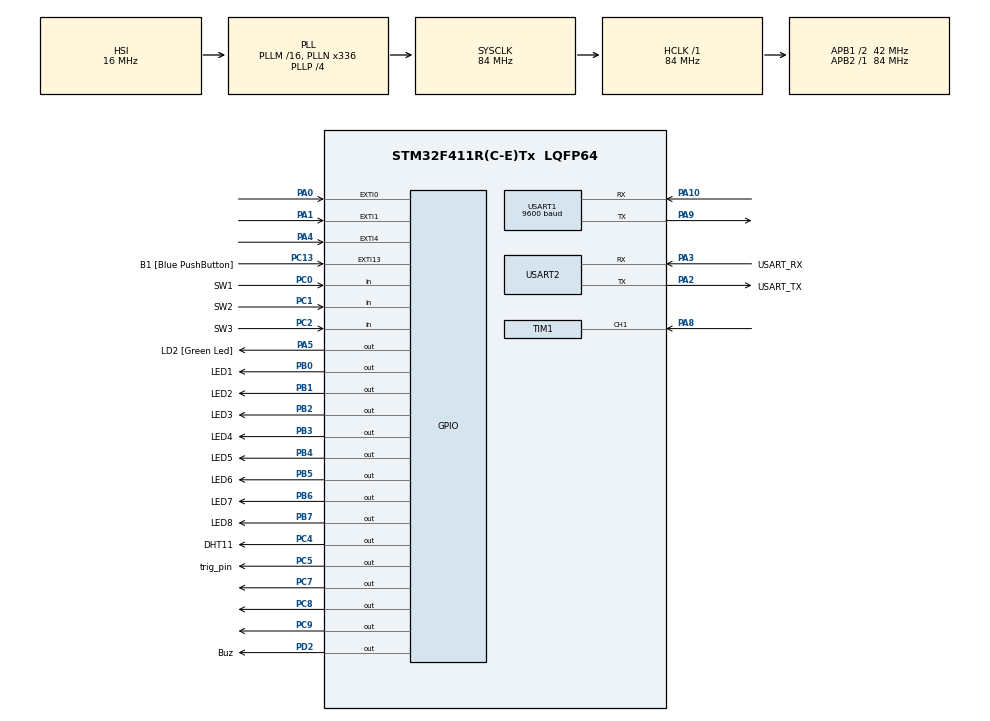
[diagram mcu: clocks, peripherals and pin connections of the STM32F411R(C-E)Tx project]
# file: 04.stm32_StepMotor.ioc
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Mcu.Family=STM32F4
Mcu.Name=STM32F411R(C-E)Tx
Mcu.Package=LQFP64
NVIC.EXTI0_IRQn=true\:0\:0\:false\:false\:true\:true\:true
NVIC.EXTI1_IRQn=true\:0\:0\:false\:false\:true\:true\:true
NVIC.EXTI4_IRQn=true\:0\:0\:false\:false\:true\:true\:true
NVIC.PriorityGroup=NVIC_PRIORITYGROUP_0
NVIC.TIM1_BRK_TIM9_IRQn=true\:0\:0\:false\:true\:true\:1\:true\:true
NVIC.TIM1_CC_IRQn=true\:0\:0\:false\:true\:true\:2\:true\:true
NVIC.TIM1_TRG_COM_TIM11_IRQn=true\:0\:0\:false\:true\:true\:3\:true\:true
NVIC.TIM1_UP_TIM10_IRQn=true\:0\:0\:false\:true\:true\:4\:true\:true
NVIC.USART1_IRQn=true\:0\:0\:false\:false\:true\:true\:true
NVIC.USART2_IRQn=true\:0\:0\:false\:false\:true\:true\:true
PA0-WKUP.Signal=GPXTI0
PA1.Signal=GPXTI1
PA10.Mode=Asynchronous
PA10.Signal=USART1_RX
PA13.GPIO_Label=TMS
PA13.Mode=Serial_Wire
PA13.Signal=SYS_JTMS-SWDIO
PA14.GPIO_Label=TCK
PA14.Mode=Serial_Wire
PA14.Signal=SYS_JTCK-SWCLK
PA2.GPIO_Label=USART_TX
PA2.Mode=Asynchronous
PA2.Signal=USART2_TX
PA3.GPIO_Label=USART_RX
PA3.Mode=Asynchronous
PA3.Signal=USART2_RX
PA4.Signal=GPXTI4
PA5.GPIO_Label=LD2 [Green Led]
PA5.Signal=GPIO_Output
PA8.Signal=S_TIM1_CH1
PA9.Mode=Asynchronous
PA9.Signal=USART1_TX
PB0.GPIO_Label=LED1
PB0.Signal=GPIO_Output
PB1.GPIO_Label=LED2
PB1.Signal=GPIO_Output
PB2.GPIO_Label=LED3
PB2.Signal=GPIO_Output
PB3.GPIO_Label=LED4
PB3.Signal=GPIO_Output
PB4.GPIO_Label=LED5
PB4.Signal=GPIO_Output
PB5.GPIO_Label=LED6
PB5.Signal=GPIO_Output
PB6.GPIO_Label=LED7
PB6.Signal=GPIO_Output
PB7.GPIO_Label=LED8
PB7.Signal=GPIO_Output
PC0.GPIO_Label=SW1
PC0.Signal=GPIO_Input
PC1.GPIO_Label=SW2
PC1.Signal=GPIO_Input
PC13-ANTI_TAMP.GPIO_Label=B1 [Blue PushButton]
PC13-ANTI_TAMP.GPIO_ModeDefaultEXTI=GPIO_MODE_IT_FALLING
PC13-ANTI_TAMP.Signal=GPXTI13
PC14-OSC32_IN.Mode=LSE-External-Oscillator
PC14-OSC32_IN.Signal=RCC_OSC32_IN
PC15-OSC32_OUT.Mode=LSE-External-Oscillator
PC15-OSC32_OUT.Signal=RCC_OSC32_OUT
PC2.GPIO_Label=SW3
PC2.Signal=GPIO_Input
PC4.GPIO_Label=DHT11
PC4.Signal=GPIO_Output
PC5.GPIO_Label=trig_pin
PC5.Signal=GPIO_Output
PC7.Signal=GPIO_Output
PC8.Signal=GPIO_Output
PC9.Signal=GPIO_Output
PD2.GPIO_Label=Buz
PD2.Signal=GPIO_Output
PH0\ -\ OSC_IN.Mode=HSE-External-Clock-Source
PH0\ -\ OSC_IN.Signal=RCC_OSC_IN
PH1\ -\ OSC_OUT.Mode=HSE-External-Clock-Source
PH1\ -\ OSC_OUT.Signal=RCC_OSC_OUT
ProjectManager.HeapSize=0x200
ProjectManager.StackSize=0x400
ProjectManager.TargetToolchain=STM32CubeIDE
RCC.48MHZClocksFreq_Value=84000000
RCC.AHBFreq_Value=84000000
RCC.APB1CLKDivider=RCC_HCLK_DIV2
RCC.APB1Freq_Value=42000000
RCC.APB1TimFreq_Value=84000000
RCC.APB2Freq_Value=84000000
RCC.APB2TimFreq_Value=84000000
RCC.CortexFreq_Value=84000000
RCC.FLatency-AdvancedSettings=FLASH_LATENCY_2
RCC.HCLKFreq_Value=84000000
RCC.HSE_VALUE=8000000
RCC.HSI_VALUE=16000000
RCC.PLLN=336
RCC.PLLP=RCC_PLLP_DIV4
RCC.SYSCLKFreq_VALUE=84000000
RCC.SYSCLKSource=RCC_SYSCLKSOURCE_PLLCLK
RCC.VCOOutputFreq_Value=336000000
SH.S_TIM1_CH1.0=TIM1_CH1,Input_Capture1_from_TI1
TIM1.Channel-Input_Capture1_from_TI1=TIM_CHANNEL_1
TIM1.ICPolarity_CH1=TIM_INPUTCHANNELPOLARITY_BOTHEDGE
TIM1.Prescaler=84-1
TIM11.Period=10000
TIM11.Prescaler=84-1
USART1.BaudRate=9600
USART1.VirtualMode=VM_ASYNC
USART2.VirtualMode=VM_ASYNC
VP_TIM11_VS_ClockSourceINT.Mode=Enable_Timer
VP_TIM1_VS_ClockSourceINT.Mode=Internal
board=NUCLEO-F411RE

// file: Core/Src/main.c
/* USER CODE BEGIN Header */
/**
  ******************************************************************************
  * @file           : main.c
  * @brief          : Main program body
  ******************************************************************************
  * @attention
  *
  * <h2><center>&copy; Copyright (c) 2021 STMicroelectronics.
  * All rights reserved.</center></h2>
  *
  * This software component is licensed by ST under BSD 3-Clause license,
  * the "License"; You may not use this file except in compliance with the
  * License. You may obtain a copy of the License at:
  *                        opensource.org/licenses/BSD-3-Clause
  *
  ******************************************************************************
  */
/* USER CODE END Header */
#include "main.h"

/* USER CODE BEGIN Includes */
#include "led_onoff.h"
#include "DHT11.h"
#include "stepmotor.h"
/* USER CODE END Includes */

/* USER CODE BEGIN PD */
extern void demoboard_led2_onoff_systick();
extern void systick_time(uint16_t *ms);

extern void DHT11_main(void);
extern void DHT11_processing(void);

extern void ultrasonic_processing();
extern void ultrasonic_tapeline();

extern void bluetooth_command_processing();
extern void pc_command_processing();

void delay_us(unsigned long us);

/* USER CODE END PD */

TIM_HandleTypeDef htim1;
TIM_HandleTypeDef htim11;

UART_HandleTypeDef huart1;
UART_HandleTypeDef huart2;

/* USER CODE BEGIN PV */
volatile int Tms_counter=0;
volatile int TIM11_10ms_counter=0;
volatile int TIM11_10ms_ultrasonic_counter = 0;
volatile int TIM11_10ms_buzzer_counter = 0;
volatile int TIM11_10ms_LED_counter = 0;
extern volatile uint8_t rx_data;		// PC로 부터 1byte의 INT가 들어오면 저장 하는 변수
extern volatile uint8_t rxbt_data;		// Bluetooth로 부터 1byte의 INT가 들어오면 저장 하는 변수
/* USER CODE END PV */

void SystemClock_Config(void);
static void MX_GPIO_Init(void);
static void MX_USART2_UART_Init(void);
static void MX_TIM1_Init(void);
static void MX_TIM11_Init(void);
static void MX_USART1_UART_Init(void);
static void MX_NVIC_Init(void);

/* USER CODE BEGIN 0 */

//----------  printf start ----------
#ifdef __GNUC__
/* With GCC, small printf (option LD Linker->Libraries->Small printf
   set to 'Yes') calls __io_putchar() */
#define PUTCHAR_PROTOTYPE int __io_putchar(int ch)
#else
#define PUTCHAR_PROTOTYPE int fputc(int ch, FILE *f)
#endif /* __GNUC__ */
/**
  * @brief  Retargets the C library printf function to the USART.
  * @param  None
  * @retval None
  */
PUTCHAR_PROTOTYPE   // Add for printf
{
  /* Place your implementation of fputc here */
  /* e.g. write a character to the USART3 and Loop until the end of transmission */
  HAL_UART_Transmit(&huart2, (uint8_t *)&ch, 1, 0xFFFF);

  return ch;
}
//----------  printf end ----------
// call at SysTick_Handler of stm32f4xx_it.c
// auto enter here every 1ms: 1ms interrupt
// ARM core support
void HAL_SYSTICK_Callback(void)
{
	Tms_counter++;
}

// 0.000001 sec 1us
// 0.001    sec 1ms: 1000us
// 0.1      sec : 100,000us
void delay_us(unsigned long us)
{
	__HAL_TIM_SET_COUNTER(&htim1,0);
	while(__HAL_TIM_GET_COUNTER(&htim1) < us)
		;
}
// copy from stm32f4xx_hal_tim.c
//enter here every 10ms
void HAL_TIM_PeriodElapsedCallback(TIM_HandleTypeDef *htim)
{
	if(htim->Instance == TIM11)
	{
		TIM11_10ms_counter++;
		TIM11_10ms_ultrasonic_counter++;
		TIM11_10ms_buzzer_counter++;
		TIM11_10ms_LED_counter++;
	}
}

// Enter here when external interrupt occurs
uint8_t led_patten[9] = {0x00, 0x01, 0x03, 0x07, 0x0f, 0x1f, 0x3f, 0x7f, 0xff};
uint8_t i = 0;
void HAL_GPIO_EXTI_Callback(uint16_t GPIO_Pin)
{
	switch(GPIO_Pin)
	{
		case GPIO_PIN_0:
			elevatorPrvStateSave(FIRST_FLOOR);
			led_all_off();
			HAL_GPIO_WritePin(GPIOB, led_patten[1], GPIO_PIN_SET);
		break;
		case GPIO_PIN_1:
			elevatorPrvStateSave(SECOND_FLOOR);
			led_all_off();
			HAL_GPIO_WritePin(GPIOB, led_patten[2], GPIO_PIN_SET);
		break;
		case GPIO_PIN_4:
			elevatorPrvStateSave(THIRD_FLOOR);
			led_all_off();
			HAL_GPIO_WritePin(GPIOB, led_patten[3], GPIO_PIN_SET);
		break;
	}
}

/* USER CODE END 0 */

int main(void)
{

  /* MCU Configuration--------------------------------------------------------*/

  /* Reset of all peripherals, Initializes the Flash interface and the Systick. */
  HAL_Init();

  /* Configure the system clock */
  SystemClock_Config();

  /* Initialize all configured peripherals */
  MX_GPIO_Init();
  MX_USART2_UART_Init();
  MX_TIM1_Init();
  MX_TIM11_Init();
  MX_USART1_UART_Init();

  /* Initialize interrupts */
  MX_NVIC_Init();
  /* USER CODE BEGIN 2 */
  HAL_TIM_IC_Start_IT(&htim1, TIM_CHANNEL_1);  //for us_delay:DHT11/ultrasonic
  HAL_TIM_Base_Start_IT(&htim11);  // 1.for General TIM every 10ms base
  DHT11_Init();
  HAL_UART_Receive_IT(&huart2, &rx_data, 1);	// PC UART
  HAL_UART_Receive_IT(&huart1, &rxbt_data, 1);	// Bluetooth UART

  /* USER CODE END 2 */

  /* Infinite loop */
  while (1)
  {

    /* USER CODE BEGIN 3 */

//	  demoboard_led2_onoff_hal_delay();
//	  dempboard_led2_button_onoff();
//	  dempboard_led2_togle_button_onoff();
//	  led_blink_down();
//	  led_blink_up();
//	  led_on_up();
//	  led_on_down();
//	  button1_led_all_onoff();

//	  button_control();
//	  demoboard_led2_onoff_systick(int ms);
//	  DHT11_processing();
//
//	  ultrasonic_processing();
//	  ultrasonic_tapeline();
//	  bluetooth_command_processing();
//	  pc_command_processing();
	  elevator_processing();
  }
  /* USER CODE END 3 */
}

void SystemClock_Config(void)
{
  RCC_OscInitTypeDef RCC_OscInitStruct = {0};
  RCC_ClkInitTypeDef RCC_ClkInitStruct = {0};

  /** Configure the main internal regulator output voltage
  */
  __HAL_RCC_PWR_CLK_ENABLE();
  __HAL_PWR_VOLTAGESCALING_CONFIG(PWR_REGULATOR_VOLTAGE_SCALE1);
  /** Initializes the RCC Oscillators according to the specified parameters
  * in the RCC_OscInitTypeDef structure.
  */
  RCC_OscInitStruct.OscillatorType = RCC_OSCILLATORTYPE_HSI;
  RCC_OscInitStruct.HSIState = RCC_HSI_ON;
  RCC_OscInitStruct.HSICalibrationValue = RCC_HSICALIBRATION_DEFAULT;
  RCC_OscInitStruct.PLL.PLLState = RCC_PLL_ON;
  RCC_OscInitStruct.PLL.PLLSource = RCC_PLLSOURCE_HSI;
  RCC_OscInitStruct.PLL.PLLM = 16;
  RCC_OscInitStruct.PLL.PLLN = 336;
  RCC_OscInitStruct.PLL.PLLP = RCC_PLLP_DIV4;
  RCC_OscInitStruct.PLL.PLLQ = 4;
  if (HAL_RCC_OscConfig(&RCC_OscInitStruct) != HAL_OK)
  {
    Error_Handler();
  }
  /** Initializes the CPU, AHB and APB buses clocks
  */
  RCC_ClkInitStruct.ClockType = RCC_CLOCKTYPE_HCLK|RCC_CLOCKTYPE_SYSCLK
                              |RCC_CLOCKTYPE_PCLK1|RCC_CLOCKTYPE_PCLK2;
  RCC_ClkInitStruct.SYSCLKSource = RCC_SYSCLKSOURCE_PLLCLK;
  RCC_ClkInitStruct.AHBCLKDivider = RCC_SYSCLK_DIV1;
  RCC_ClkInitStruct.APB1CLKDivider = RCC_HCLK_DIV2;
  RCC_ClkInitStruct.APB2CLKDivider = RCC_HCLK_DIV1;

  if (HAL_RCC_ClockConfig(&RCC_ClkInitStruct, FLASH_LATENCY_2) != HAL_OK)
  {
    Error_Handler();
  }
}

/**
  * @brief NVIC Configuration.
  * @retval None
  */
static void MX_NVIC_Init(void)
{
  /* TIM1_BRK_TIM9_IRQn interrupt configuration */
  HAL_NVIC_SetPriority(TIM1_BRK_TIM9_IRQn, 0, 0);
  HAL_NVIC_EnableIRQ(TIM1_BRK_TIM9_IRQn);
  /* TIM1_CC_IRQn interrupt configuration */
  HAL_NVIC_SetPriority(TIM1_CC_IRQn, 0, 0);
  HAL_NVIC_EnableIRQ(TIM1_CC_IRQn);
  /* TIM1_TRG_COM_TIM11_IRQn interrupt configuration */
  HAL_NVIC_SetPriority(TIM1_TRG_COM_TIM11_IRQn, 0, 0);
  HAL_NVIC_EnableIRQ(TIM1_TRG_COM_TIM11_IRQn);
  /* TIM1_UP_TIM10_IRQn interrupt configuration */
  HAL_NVIC_SetPriority(TIM1_UP_TIM10_IRQn, 0, 0);
  HAL_NVIC_EnableIRQ(TIM1_UP_TIM10_IRQn);
}

static void MX_TIM1_Init(void)
{

  TIM_ClockConfigTypeDef sClockSourceConfig = {0};
  TIM_MasterConfigTypeDef sMasterConfig = {0};
  TIM_IC_InitTypeDef sConfigIC = {0};

  htim1.Instance = TIM1;
  htim1.Init.Prescaler = 84-1;
  htim1.Init.CounterMode = TIM_COUNTERMODE_UP;
  htim1.Init.Period = 65535;
  htim1.Init.ClockDivision = TIM_CLOCKDIVISION_DIV1;
  htim1.Init.RepetitionCounter = 0;
  htim1.Init.AutoReloadPreload = TIM_AUTORELOAD_PRELOAD_DISABLE;
  if (HAL_TIM_Base_Init(&htim1) != HAL_OK)
  {
    Error_Handler();
  }
  sClockSourceConfig.ClockSource = TIM_CLOCKSOURCE_INTERNAL;
  if (HAL_TIM_ConfigClockSource(&htim1, &sClockSourceConfig) != HAL_OK)
  {
    Error_Handler();
  }
  if (HAL_TIM_IC_Init(&htim1) != HAL_OK)
  {
    Error_Handler();
  }
  sMasterConfig.MasterOutputTrigger = TIM_TRGO_RESET;
  sMasterConfig.MasterSlaveMode = TIM_MASTERSLAVEMODE_DISABLE;
  if (HAL_TIMEx_MasterConfigSynchronization(&htim1, &sMasterConfig) != HAL_OK)
  {
    Error_Handler();
  }
  sConfigIC.ICPolarity = TIM_INPUTCHANNELPOLARITY_BOTHEDGE;
  sConfigIC.ICSelection = TIM_ICSELECTION_DIRECTTI;
  sConfigIC.ICPrescaler = TIM_ICPSC_DIV1;
  sConfigIC.ICFilter = 0;
  if (HAL_TIM_IC_ConfigChannel(&htim1, &sConfigIC, TIM_CHANNEL_1) != HAL_OK)
  {
    Error_Handler();
  }

}

static void MX_TIM11_Init(void)
{

  htim11.Instance = TIM11;
  htim11.Init.Prescaler = 84-1;
  htim11.Init.CounterMode = TIM_COUNTERMODE_UP;
  htim11.Init.Period = 10000;
  htim11.Init.ClockDivision = TIM_CLOCKDIVISION_DIV1;
  htim11.Init.AutoReloadPreload = TIM_AUTORELOAD_PRELOAD_DISABLE;
  if (HAL_TIM_Base_Init(&htim11) != HAL_OK)
  {
    Error_Handler();
  }

}

static void MX_USART1_UART_Init(void)
{

  huart1.Instance = USART1;
  huart1.Init.BaudRate = 9600;
  huart1.Init.WordLength = UART_WORDLENGTH_8B;
  huart1.Init.StopBits = UART_STOPBITS_1;
  huart1.Init.Parity = UART_PARITY_NONE;
  huart1.Init.Mode = UART_MODE_TX_RX;
  huart1.Init.HwFlowCtl = UART_HWCONTROL_NONE;
  huart1.Init.OverSampling = UART_OVERSAMPLING_16;
  if (HAL_UART_Init(&huart1) != HAL_OK)
  {
    Error_Handler();
  }

}

static void MX_USART2_UART_Init(void)
{

  huart2.Instance = USART2;
  huart2.Init.BaudRate = 115200;
  huart2.Init.WordLength = UART_WORDLENGTH_8B;
  huart2.Init.StopBits = UART_STOPBITS_1;
  huart2.Init.Parity = UART_PARITY_NONE;
  huart2.Init.Mode = UART_MODE_TX_RX;
  huart2.Init.HwFlowCtl = UART_HWCONTROL_NONE;
  huart2.Init.OverSampling = UART_OVERSAMPLING_16;
  if (HAL_UART_Init(&huart2) != HAL_OK)
  {
    Error_Handler();
  }

}

static void MX_GPIO_Init(void)
{
  GPIO_InitTypeDef GPIO_InitStruct = {0};

  /* GPIO Ports Clock Enable */
  __HAL_RCC_GPIOC_CLK_ENABLE();
  __HAL_RCC_GPIOH_CLK_ENABLE();
  __HAL_RCC_GPIOA_CLK_ENABLE();
  __HAL_RCC_GPIOB_CLK_ENABLE();
  __HAL_RCC_GPIOD_CLK_ENABLE();

  /*Configure GPIO pin Output Level */
  HAL_GPIO_WritePin(LD2_GPIO_Port, LD2_Pin, GPIO_PIN_RESET);

  /*Configure GPIO pin Output Level */
  HAL_GPIO_WritePin(GPIOC, DHT11_Pin|trig_pin_Pin|GPIO_PIN_7|GPIO_PIN_8
                          |GPIO_PIN_9, GPIO_PIN_RESET);

  /*Configure GPIO pin Output Level */
  HAL_GPIO_WritePin(GPIOB, LED1_Pin|LED2_Pin|LED3_Pin|LED4_Pin
                          |LED5_Pin|LED6_Pin|LED7_Pin|LED8_Pin, GPIO_PIN_RESET);

  /*Configure GPIO pin Output Level */
  HAL_GPIO_WritePin(Buz_GPIO_Port, Buz_Pin, GPIO_PIN_RESET);

  /*Configure GPIO pin : B1_Pin */
  GPIO_InitStruct.Pin = B1_Pin;
  GPIO_InitStruct.Mode = GPIO_MODE_IT_FALLING;
  GPIO_InitStruct.Pull = GPIO_NOPULL;
  HAL_GPIO_Init(B1_GPIO_Port, &GPIO_InitStruct);

  /*Configure GPIO pins : SW1_Pin SW2_Pin SW3_Pin */
  GPIO_InitStruct.Pin = SW1_Pin|SW2_Pin|SW3_Pin;
  GPIO_InitStruct.Mode = GPIO_MODE_INPUT;
  GPIO_InitStruct.Pull = GPIO_NOPULL;
  HAL_GPIO_Init(GPIOC, &GPIO_InitStruct);

  /*Configure GPIO pins : PA0 PA1 PA4 */
  GPIO_InitStruct.Pin = GPIO_PIN_0|GPIO_PIN_1|GPIO_PIN_4;
  GPIO_InitStruct.Mode = GPIO_MODE_IT_RISING;
  GPIO_InitStruct.Pull = GPIO_NOPULL;
  HAL_GPIO_Init(GPIOA, &GPIO_InitStruct);

  /*Configure GPIO pin : LD2_Pin */
  GPIO_InitStruct.Pin = LD2_Pin;
  GPIO_InitStruct.Mode = GPIO_MODE_OUTPUT_PP;
  GPIO_InitStruct.Pull = GPIO_NOPULL;
  GPIO_InitStruct.Speed = GPIO_SPEED_FREQ_LOW;
  HAL_GPIO_Init(LD2_GPIO_Port, &GPIO_InitStruct);

  /*Configure GPIO pins : DHT11_Pin trig_pin_Pin PC7 PC8
                           PC9 */
  GPIO_InitStruct.Pin = DHT11_Pin|trig_pin_Pin|GPIO_PIN_7|GPIO_PIN_8
                          |GPIO_PIN_9;
  GPIO_InitStruct.Mode = GPIO_MODE_OUTPUT_PP;
  GPIO_InitStruct.Pull = GPIO_NOPULL;
  GPIO_InitStruct.Speed = GPIO_SPEED_FREQ_LOW;
  HAL_GPIO_Init(GPIOC, &GPIO_InitStruct);

  /*Configure GPIO pins : LED1_Pin LED2_Pin LED3_Pin LED4_Pin
                           LED5_Pin LED6_Pin LED7_Pin LED8_Pin */
  GPIO_InitStruct.Pin = LED1_Pin|LED2_Pin|LED3_Pin|LED4_Pin
                          |LED5_Pin|LED6_Pin|LED7_Pin|LED8_Pin;
  GPIO_InitStruct.Mode = GPIO_MODE_OUTPUT_PP;
  GPIO_InitStruct.Pull = GPIO_NOPULL;
  GPIO_InitStruct.Speed = GPIO_SPEED_FREQ_LOW;
  HAL_GPIO_Init(GPIOB, &GPIO_InitStruct);

  /*Configure GPIO pin : Buz_Pin */
  GPIO_InitStruct.Pin = Buz_Pin;
  GPIO_InitStruct.Mode = GPIO_MODE_OUTPUT_PP;
  GPIO_InitStruct.Pull = GPIO_NOPULL;
  GPIO_InitStruct.Speed = GPIO_SPEED_FREQ_LOW;
  HAL_GPIO_Init(Buz_GPIO_Port, &GPIO_InitStruct);

  /* EXTI interrupt init*/
  HAL_NVIC_SetPriority(EXTI0_IRQn, 0, 0);
  HAL_NVIC_EnableIRQ(EXTI0_IRQn);

  HAL_NVIC_SetPriority(EXTI1_IRQn, 0, 0);
  HAL_NVIC_EnableIRQ(EXTI1_IRQn);

  HAL_NVIC_SetPriority(EXTI4_IRQn, 0, 0);
  HAL_NVIC_EnableIRQ(EXTI4_IRQn);

}

void Error_Handler(void)
{
  __disable_irq();
  while (1)
  {
  }
}

/************************ (C) COPYRIGHT STMicroelectronics *****END OF FILE****/
